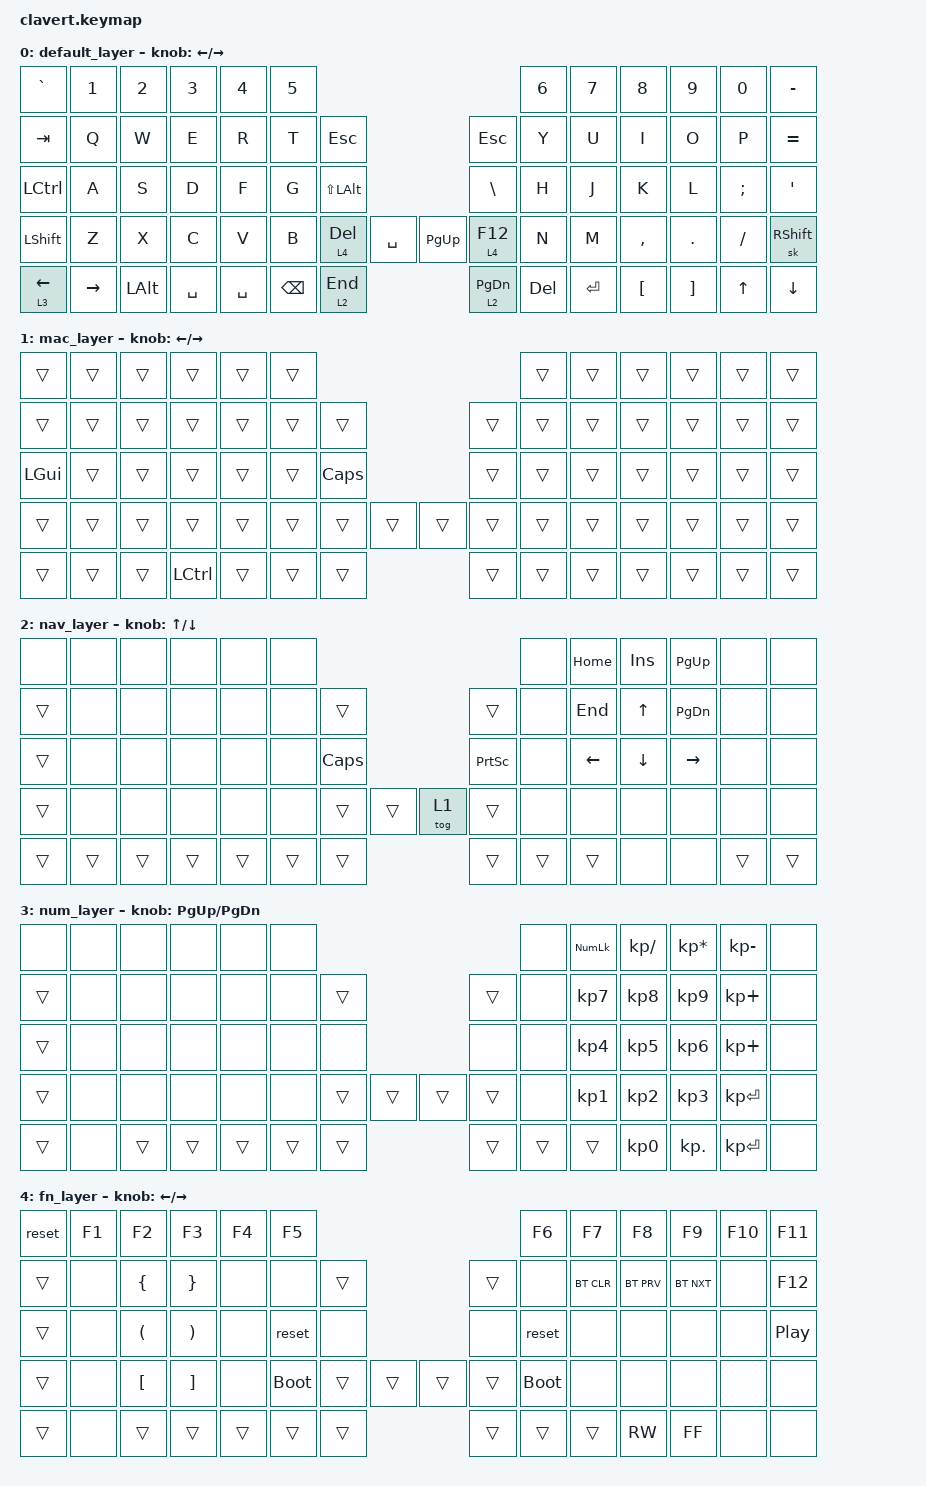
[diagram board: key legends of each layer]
/*
  * Copyright (c) 2020 The ZMK Contributors
  *
  * SPDX-License-Identifier: MIT
  */

#include <behaviors.dtsi>
#include <dt-bindings/zmk/keys.h>
#include <dt-bindings/zmk/bt.h>

#define DEFAULT 0
#define MAC 1
#define NAV 2
#define NUM 3
#define FN 4

&sk {
    release-after-ms = <2000>;
    quick-release;

    /delete-property/ ignore-modifiers;
};

/ {
    keymap {
        compatible = "zmk,keymap";

        default_layer {
            // -----------------------------------------------------------------------------------------------------------------------------------------
            // | GRAVE      | 1     | 2    | 3    | 4   | 5   |                                                  | 6   | 7   | 8   | 9   | 0   | -     |
            // | TAB        | Q     | W    | E    | R   | T   | ESC      |                            | ESC      | Y   | U   | I   | O   | P   | =     |
            // | LCTRL      | A     | S    | D    | F   | G   | LS(LALT) |                            | \        | H   | J   | K   | L   | ;   | '     |
            // | LSHFT      | Z     | X    | C    | V   | B   | LtFN DEL | HOME      |  | PG_UP       | LtFN F12 | N   | M   | ,   | .   | /   | RSHFT |
            // | LtNUM LEFT | RIGHT | LALT | LGUI | SPACE     | BSPC     | LtNAV END |  | LtNAV PG_DN | DEL      | ENTER     | [   | ]   | UP  | DOWN  |

            bindings = <
 &kp GRAVE     &kp N1    &kp N2     &kp N3     &kp N4    &kp N5                                                    &kp N6     &kp N7     &kp N8    &kp N9    &kp N0  &kp MINUS
   &kp TAB      &kp Q     &kp W      &kp E      &kp R     &kp T       &kp ESC                            &kp ESC    &kp Y      &kp U      &kp I     &kp O     &kp P  &kp EQUAL
 &kp LCTRL      &kp A     &kp S      &kp D      &kp F     &kp G  &kp LS(LALT)                           &kp BSLH    &kp H      &kp J      &kp K     &kp L  &kp SEMI    &kp SQT
 &kp LSHFT      &kp Z     &kp X      &kp C      &kp V     &kp B     &lt 4 DEL  &kp SPACE  &kp PG_UP    &lt 4 F12    &kp N      &kp M  &kp COMMA   &kp DOT  &kp FSLH  &sk RSHFT
&lt 3 LEFT  &kp RIGHT  &kp LALT  &kp SPACE  &kp SPACE  &kp BSPC     &lt 2 END                        &lt 2 PG_DN  &kp DEL  &kp ENTER   &kp LBKT  &kp RBKT    &kp UP   &kp DOWN
            >;

            sensor-bindings = <&inc_dec_kp LEFT RIGHT>;
        };

        mac_layer {
            // ------------------------------------------------------------------------------------------------------------------------------------
            // | trans | trans | trans | trans | trans | trans |                                  | trans | trans | trans | trans | trans | trans |
            // | trans | trans | trans | trans | trans | trans | trans |                  | trans | trans | trans | trans | trans | trans | trans |
            // | LGUI  | trans | trans | trans | trans | trans | CAPS  |                  | trans | trans | trans | trans | trans | trans | trans |
            // | trans | trans | trans | trans | trans | trans | trans | trans |  | trans | trans | trans | trans | trans | trans | trans | trans |
            // | trans | trans | trans | LCTRL | trans         | trans | trans |  | trans | trans | trans         | trans | trans | trans | trans |

            bindings = <
  &trans  &trans  &trans     &trans  &trans  &trans                                    &trans  &trans  &trans  &trans  &trans  &trans
  &trans  &trans  &trans     &trans  &trans  &trans    &trans                  &trans  &trans  &trans  &trans  &trans  &trans  &trans
&kp LGUI  &trans  &trans     &trans  &trans  &trans  &kp CAPS                  &trans  &trans  &trans  &trans  &trans  &trans  &trans
  &trans  &trans  &trans     &trans  &trans  &trans    &trans  &trans  &trans  &trans  &trans  &trans  &trans  &trans  &trans  &trans
  &trans  &trans  &trans  &kp LCTRL  &trans  &trans    &trans                  &trans  &trans  &trans  &trans  &trans  &trans  &trans
            >;

            sensor-bindings = <&inc_dec_kp LEFT RIGHT>;
        };

        nav_layer {
            // ---------------------------------------------------------------------------------------------------------------------------------
            // | none  | none  | none  | none  | none  | none |                                  | none  | HOME | INS  | PG_UP | none  | none  |
            // | trans | none  | none  | none  | none  | none | trans |                  | trans | none  | END  | UP   | PG_DN | none  | none  |
            // | trans | none  | none  | none  | none  | none | CAPS  |                  | PSCRN | none  | LEFT | DOWN | RIGHT | none  | none  |
            // | trans | none  | none  | none  | none  | none | trans | trans |  | TgMAC | trans | none  | none | none | none  | none  | none  |
            // | trans | trans | trans | trans | trans        | trans | trans |  | trans | trans | trans        | none | none  | trans | trans |

            bindings = <
 &none   &none   &none   &none   &none   &none                                        &none  &kp HOME   &kp INS  &kp PG_UP   &none   &none
&trans   &none   &none   &none   &none   &none    &trans                     &trans   &none   &kp END    &kp UP  &kp PG_DN   &none   &none
&trans   &none   &none   &none   &none   &none  &kp CAPS                  &kp PSCRN   &none  &kp LEFT  &kp DOWN  &kp RIGHT   &none   &none
&trans   &none   &none   &none   &none   &none    &trans  &trans  &tog 1     &trans   &none     &none     &none      &none   &none   &none
&trans  &trans  &trans  &trans  &trans  &trans    &trans                     &trans  &trans    &trans     &none      &none  &trans  &trans
            >;

            sensor-bindings = <&inc_dec_kp UP DOWN>;
        };

        num_layer {
            // -------------------------------------------------------------------------------------------------------------------------------
            // | none  | none | none  | none  | none  | none |                                  | none  | NUMLOCK | /   | *   | -     | none |
            // | trans | none | none  | none  | none  | none | trans |                  | trans | none  | 7       | 8   | 9   | +     | none |
            // | trans | none | none  | none  | none  | none | none  |                  | none  | none  | 4       | 5   | 6   | +     | none |
            // | trans | none | none  | none  | none  | none | trans | trans |  | trans | trans | none  | 1       | 2   | 3   | ENTER | none |
            // | trans | none | trans | trans | trans        | trans | trans |  | trans | trans | trans           | 0   | .   | ENTER | none |

            bindings = <
 &none  &none   &none   &none   &none   &none                                   &none  &kp KP_NUM  &kp KP_SLASH  &kp KP_ASTERISK  &kp KP_MINUS  &none
&trans  &none   &none   &none   &none   &none  &trans                  &trans   &none   &kp KP_N7     &kp KP_N8        &kp KP_N9   &kp KP_PLUS  &none
&trans  &none   &none   &none   &none   &none   &none                   &none   &none   &kp KP_N4     &kp KP_N5        &kp KP_N6   &kp KP_PLUS  &none
&trans  &none   &none   &none   &none   &none  &trans  &trans  &trans  &trans   &none   &kp KP_N1     &kp KP_N2        &kp KP_N3  &kp KP_ENTER  &none
&trans  &none  &trans  &trans  &trans  &trans  &trans                  &trans  &trans      &trans     &kp KP_N0       &kp KP_DOT  &kp KP_ENTER  &none
            >;

            sensor-bindings = <&inc_dec_kp PG_UP PG_DN>;
        };

        fn_layer {
            // --------------------------------------------------------------------------------------------------------------------------------------------------
            // | none  | F1   | F2    | F3    | F4    | F5         |                                  | F6         | F7     | F8     | F9      | F10  | F11  |
            // | trans | none | {     | }     | none  | none       | trans |                  | trans | none       | BT_CLR | BT_PRV | BT_NXT  | none | F12  |
            // | trans | none | (     | )     | none  | reset      | none  |                  | none  | reset      | none   | none   | none    | none | PLAY |
            // | trans | none | [     | ]     | none  | bootloader | trans | trans |  | trans | trans | bootloader | none   | none   | none    | none | none |
            // | trans | none | trans | trans | trans              | trans | trans |  | trans | trans | trans               | REWIND | FASTFWR | none | none |

            bindings = <
&reset  &kp F1    &kp F2    &kp F3  &kp F4       &kp F5                                       &kp F6      &kp F7      &kp F8      &kp F9  &kp F10   &kp F11
&trans   &none  &kp LBRC  &kp RBRC   &none        &none  &trans                  &trans        &none  &bt BT_CLR  &bt BT_PRV  &bt BT_NXT    &none   &kp F12
&trans   &none  &kp LPAR  &kp RPAR   &none       &reset   &none                   &none       &reset       &none       &none       &none    &none  &kp C_PP
&trans   &none  &kp LBKT  &kp RBKT   &none  &bootloader  &trans  &trans  &trans  &trans  &bootloader       &none       &none       &none    &none     &none
&trans   &none    &trans    &trans  &trans       &trans  &trans                  &trans       &trans      &trans    &kp C_RW    &kp C_FF    &none     &none
            >;

            sensor-bindings = <&inc_dec_kp LEFT RIGHT>;
        };
    };
};
